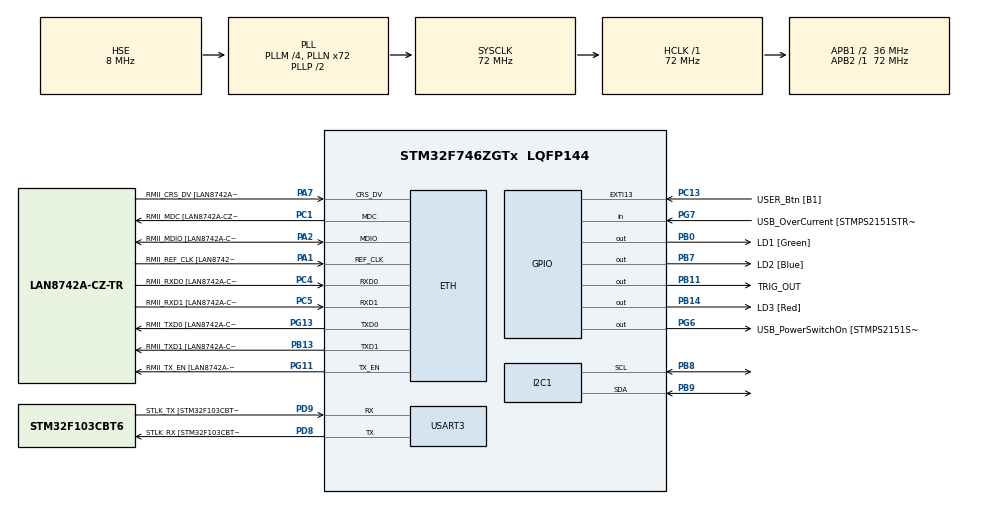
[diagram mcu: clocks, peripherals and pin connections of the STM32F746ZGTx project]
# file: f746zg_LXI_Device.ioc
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ETH.MediaInterface=ETH_MEDIA_INTERFACE_RMII
ETH.PHY_Name=LAN8742A_PHY_ADDRESS
ETH.PHY_Value=0
ETH.PhyAddress=0
FREERTOS.Tasks01=defaultTask,24,128,StartDefaultTask,Default,NULL,Dynamic,NULL,NULL
FREERTOS.configUSE_NEWLIB_REENTRANT=1
I2C1.Timing=0x00808CD2
LWIP.LWIP_AUTOIP=1
LWIP.LWIP_DHCP_AUTOIP_COOP=1
LWIP.LWIP_DNS=1
LWIP.LWIP_HTTPD=1
LWIP.LWIP_HTTPD_CGI=1
LWIP.LWIP_HTTPD_CGI_SSI=0
LWIP.LWIP_HTTPD_DYNAMIC_HEADERS=1
LWIP.LWIP_HTTPD_MAX_TAG_NAME_LEN=32
LWIP.LWIP_HTTPD_SSI=1
LWIP.LWIP_SNTP=1
LWIP.SNTP_MAX_SERVERS=3
LWIP.Version=v2.1.2_Cube
Mcu.Family=STM32F7
Mcu.Name=STM32F746ZGTx
Mcu.Package=LQFP144
NVIC.ETH_IRQn=true\:7\:0\:true\:false\:true\:true\:false\:true
NVIC.PriorityGroup=NVIC_PRIORITYGROUP_4
NVIC.TIM1_UP_TIM10_IRQn=true\:0\:0\:false\:false\:true\:false\:false\:true
NVIC.TimeBase=TIM1_UP_TIM10_IRQn
NVIC.TimeBaseIP=TIM1
NVIC.USART3_IRQn=true\:5\:0\:true\:false\:true\:true\:true\:true
PA1.GPIO_Label=RMII_REF_CLK [LAN8742A-CZ-TR_REFCLK0]
PA1.Mode=RMII
PA1.Signal=ETH_REF_CLK
PA10.GPIO_Label=USB_ID
PA10.Signal=USB_OTG_FS_ID
PA11.GPIO_Label=USB_DM
PA11.Signal=USB_OTG_FS_DM
PA12.GPIO_Label=USB_DP
PA12.Signal=USB_OTG_FS_DP
PA13.GPIO_Label=TMS
PA13.Mode=Serial_Wire
PA13.Signal=SYS_JTMS-SWDIO
PA14.GPIO_Label=TCK
PA14.Mode=Serial_Wire
PA14.Signal=SYS_JTCK-SWCLK
PA2.GPIO_Label=RMII_MDIO [LAN8742A-CZ-TR_MDIO]
PA2.Mode=RMII
PA2.Signal=ETH_MDIO
PA7.GPIO_Label=RMII_CRS_DV [LAN8742A-CZ-TR_CRS_DV]
PA7.Mode=RMII
PA7.Signal=ETH_CRS_DV
PA8.GPIO_Label=USB_SOF [TP1]
PA8.Signal=USB_OTG_FS_SOF
PA9.GPIO_Label=USB_VBUS
PA9.Signal=USB_OTG_FS_VBUS
PB0.GPIO_Label=LD1 [Green]
PB0.Signal=GPIO_Output
PB11.GPIO_Label=TRIG_OUT
PB11.GPIO_Speed=GPIO_SPEED_FREQ_VERY_HIGH
PB11.Signal=GPIO_Output
PB13.GPIO_Label=RMII_TXD1 [LAN8742A-CZ-TR_TXD1]
PB13.Mode=RMII
PB13.Signal=ETH_TXD1
PB14.GPIO_Label=LD3 [Red]
PB14.Signal=GPIO_Output
PB3.GPIO_Label=SW0
PB3.Signal=SYS_JTDO-SWO
PB7.GPIO_Label=LD2 [Blue]
PB7.Signal=GPIO_Output
PB8.GPIO_Pu=GPIO_PULLUP
PB8.Mode=I2C
PB8.Signal=I2C1_SCL
PB9.GPIO_Pu=GPIO_PULLUP
PB9.Mode=I2C
PB9.Signal=I2C1_SDA
PC1.GPIO_Label=RMII_MDC [LAN8742A-CZ-TR_MDC]
PC1.Mode=RMII
PC1.Signal=ETH_MDC
PC13.GPIO_Label=USER_Btn [B1]
PC13.Signal=GPXTI13
PC14/OSC32_IN.Mode=LSE-External-Oscillator
PC14/OSC32_IN.Signal=RCC_OSC32_IN
PC15/OSC32_OUT.Mode=LSE-External-Oscillator
PC15/OSC32_OUT.Signal=RCC_OSC32_OUT
PC4.GPIO_Label=RMII_RXD0 [LAN8742A-CZ-TR_RXD0]
PC4.Mode=RMII
PC4.Signal=ETH_RXD0
PC5.GPIO_Label=RMII_RXD1 [LAN8742A-CZ-TR_RXD1]
PC5.Mode=RMII
PC5.Signal=ETH_RXD1
PD8.GPIO_Label=STLK_RX [STM32F103CBT6_PA3]
PD8.Mode=Asynchronous
PD8.Signal=USART3_TX
PD9.GPIO_Label=STLK_TX [STM32F103CBT6_PA2]
PD9.Mode=Asynchronous
PD9.Signal=USART3_RX
PG11.GPIO_Label=RMII_TX_EN [LAN8742A-CZ-TR_TXEN]
PG11.Mode=RMII
PG11.Signal=ETH_TX_EN
PG13.GPIO_Label=RMII_TXD0 [LAN8742A-CZ-TR_TXD0]
PG13.Mode=RMII
PG13.Signal=ETH_TXD0
PG6.GPIO_Label=USB_PowerSwitchOn [STMPS2151STR_EN]
PG6.Signal=GPIO_Output
PG7.GPIO_Label=USB_OverCurrent [STMPS2151STR_FAULT]
PG7.Signal=GPIO_Input
PH0/OSC_IN.GPIO_Label=MCO [STM32F103CBT6_PA8]
PH0/OSC_IN.Mode=HSE-External-Clock-Source
PH0/OSC_IN.Signal=RCC_OSC_IN
PH1/OSC_OUT.Mode=HSE-External-Clock-Source
PH1/OSC_OUT.Signal=RCC_OSC_OUT
ProjectManager.HeapSize=0x200
ProjectManager.StackSize=0x400
ProjectManager.TargetToolchain=STM32CubeIDE
RCC.48MHZClocksFreq_Value=24000000
RCC.AHBFreq_Value=72000000
RCC.APB1CLKDivider=RCC_HCLK_DIV2
RCC.APB1Freq_Value=36000000
RCC.APB1TimFreq_Value=72000000
RCC.APB2Freq_Value=72000000
RCC.APB2TimFreq_Value=72000000
RCC.CortexFreq_Value=72000000
RCC.HCLKFreq_Value=72000000
RCC.HSE_VALUE=8000000
RCC.HSI_VALUE=16000000
RCC.PLLM=4
RCC.PLLMUL=RCC_PLL_MUL9
RCC.PLLN=72
RCC.PLLQ=3
RCC.PLLSourceVirtual=RCC_PLLSOURCE_HSE
RCC.PRESCALERUSB=RCC_USBCLKSOURCE_PLL_DIV1_5
RCC.SYSCLKFreq_VALUE=72000000
RCC.SYSCLKSource=RCC_SYSCLKSOURCE_PLLCLK
RCC.SYSCLKSourceVirtual=RCC_SYSCLKSOURCE_PLLCLK
RCC.USBFreq_Value=48000000
RCC.VCOOutputFreq_Value=144000000
USART3.VirtualMode-Asynchronous=VM_ASYNC
VP_FREERTOS_VS_CMSIS_V2.Mode=CMSIS_V2
VP_LWIP_VS_Enabled.Mode=Enabled
VP_SYS_VS_tim1.Mode=TIM1
board=NUCLEO-F746ZG

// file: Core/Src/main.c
/* USER CODE BEGIN Header */
/**
  ******************************************************************************
  * @file           : main.c
  * @brief          : Main program body
  ******************************************************************************
  * @attention
  *
  * <h2><center>&copy; Copyright (c) 2021 STMicroelectronics.
  * All rights reserved.</center></h2>
  *
  * This software component is licensed by ST under BSD 3-Clause license,
  * the "License"; You may not use this file except in compliance with the
  * License. You may obtain a copy of the License at:
  *                        opensource.org/licenses/BSD-3-Clause
  *
  ******************************************************************************
  *
  * @see https://lwip.fandom.com/wiki/IPv4
  *
  ******************************************************************************
  */
/* USER CODE END Header */
#include "main.h"
#include "cmsis_os.h"
#include "lwip.h"

/* USER CODE BEGIN Includes */
#include <stdio.h>
#include <stdbool.h>
#include "scpi/scpi.h"          // SCPI Library
#include "scpi-def.h"           // SCPI User Code
#include "eeprom_24aa.h"        // EEPROM macros
#include "lwrb/lwrb.h"          // light weight ring buffer for UART
#include "http_cgi_app.h"       // http User Code
#include "lwip/apps/httpd.h"    // http Library
#include "scpi_server.h"        // TCP/IP server for SCPI input
#include "rpc_server.h"         // LXI discovery service
#include "lwip/apps/sntp.h"     // SNTP API for time keeping
#include "ds3231.h"             // precision RTC on I2C
/* USER CODE END Includes */

/* USER CODE BEGIN PD */
#define ENABLE_DEBUG_PRINTF 0
/* USER CODE END PD */

I2C_HandleTypeDef hi2c1;

UART_HandleTypeDef huart3;

/* Definitions for defaultTask */
osThreadId_t defaultTaskHandle;
const osThreadAttr_t defaultTask_attributes = {
  .name = "defaultTask",
  .stack_size = 128 * 4,
  .priority = (osPriority_t) osPriorityNormal,
};
/* USER CODE BEGIN PV */
/** @note : Stack Size must be large enough to not cause a stack overflow --> HardFault_Handler() */
lwrb_t ringbuffer;
uint8_t uart_rx_buffer_data[128];
char temp[128];  // to pass UART Rx Ringbuffer to SCPI Input
bool flag_uart_cmd_available = false;

/* external API interfaces */
extern scpi_interface_t scpi_interface_vxi;
extern scpi_interface_t scpi_interface_serial;
extern struct netif gnetif;

/* global variables to save new device settings */
uint8_t MACAddrUser[6];
uint32_t newSettings_IPv4Addr = 0;
uint32_t newSettings_IPv4Gate = 0;
uint32_t newSettings_IPv4Mask = 0;
bool newSettings_DHCPenabled = false;

/* global flags */
bool applySettings_DHCP     = false;
bool applySettings_IPv4Addr = false;
bool applySettings_IPv4Mask = false;
bool applySettings_IPv4Gate = false;

/* global device status variables */
uint32_t deviceStatus_IPv4Addr = 0;
uint32_t deviceStatus_IPv4Mask = 0;
uint32_t deviceStatus_IPv4Gate = 0;
bool deviceStatus_DHCPenabled = false;
char _version_string[32];  // Firmware Version

ip4_addr_t ipv4_temp;

void printr(uint8_t reg) {
	printf("Reg 0x%02x = ", reg);
	uint8_t val;
	HAL_I2C_Master_Transmit(_ds3231_ui2c, DS3231_I2C_ADDR << 1, &reg, 1, DS3231_TIMEOUT);
	HAL_StatusTypeDef s = HAL_I2C_Master_Receive(_ds3231_ui2c,
			DS3231_I2C_ADDR << 1, &val, 1, DS3231_TIMEOUT);
	for (uint8_t i = 0; i < 8; i++) {
		printf("%d", (val >> (7 - i)) & 1);
	}
	printf(" With status %d", s);
	printf("\n");
}
/* USER CODE END PV */

void SystemClock_Config(void);
static void MX_GPIO_Init(void);
static void MX_USART3_UART_Init(void);
static void MX_I2C1_Init(void);
void StartDefaultTask(void *argument);

/* USER CODE BEGIN PFP */
void I2C_ScanAddresses(I2C_HandleTypeDef *hi2c);
void LXI_LCI_Mechanism(void);
/* USER CODE END PFP */

int main(void)
{

  /* MCU Configuration--------------------------------------------------------*/

  /* Reset of all peripherals, Initializes the Flash interface and the Systick. */
  HAL_Init();

  /* Configure the system clock */
  SystemClock_Config();

  /* Initialize all configured peripherals */
  MX_GPIO_Init();
  MX_USART3_UART_Init();
  MX_I2C1_Init();
  /* USER CODE BEGIN 2 */

  MACAddrUser[0] = 0x00;
  MACAddrUser[1] = 0x80;
  MACAddrUser[2] = 0xE1;
  MACAddrUser[3] = 0xc0;
  MACAddrUser[4] = 0xff;
  MACAddrUser[5] = 0xee;

  // read EUI48 compatible MAC address from EEPROM before initializing the LwIP stack
  _EEPROM_GetEUI48(EEPROM24AA_ADDRESS, MACAddrUser);

  // I2C_ScanAddresses(&hi2c1);

  /** @todo - test with working module
  DS3231_Init(&hi2c1);
  DS3231_SetFullTime(11, 15, 50);
  DS3231_SetFullDate(19, 11, 5, 2021);
  */

  lwrb_init(&ringbuffer, uart_rx_buffer_data, sizeof(uart_rx_buffer_data));

  // initialize SCPI Interface for UART Connection
  SCPI_Init(&scpi_context_serial,
	     	scpi_commands,
	     	&scpi_interface_serial,
	     	scpi_units_def,
	     	SCPI_IDN1, SCPI_IDN2, SCPI_IDN3, SCPI_IDN4,
	     	(char*)&scpi_input_buffer_serial, SCPI_INPUT_BUFFER_LENGTH,
	     	scpi_error_queue_data_serial, SCPI_ERROR_QUEUE_SIZE);
  __HAL_UART_ENABLE_IT(&huart3, UART_IT_RXNE);  // must be enabled again
  // __HAL_UART_ENABLE_IT(&huart3, UART_IT_IDLE);  // @Bug : gets stuck in TIM1 interrupt. Priority issue because of systick?

  SCPI_Input(&scpi_context_serial, "*IDN?\n", 6);

  /* USER CODE END 2 */

  /* Init scheduler */
  osKernelInitialize();

  /* USER CODE BEGIN RTOS_QUEUES */
  /* add queues, ... */
  scpi_server_init();
  rpc_server_init();
  /* USER CODE END RTOS_QUEUES */

  /* Create the thread(s) */
  /* creation of defaultTask */
  defaultTaskHandle = osThreadNew(StartDefaultTask, NULL, &defaultTask_attributes);

  /* Start scheduler */
  osKernelStart();

  /* We should never get here as control is now taken by the scheduler */
  /* Infinite loop */
  while (1)
  {

  }
}

void SystemClock_Config(void)
{
  RCC_OscInitTypeDef RCC_OscInitStruct = {0};
  RCC_ClkInitTypeDef RCC_ClkInitStruct = {0};
  RCC_PeriphCLKInitTypeDef PeriphClkInitStruct = {0};

  /** Configure LSE Drive Capability
  */
  HAL_PWR_EnableBkUpAccess();
  /** Configure the main internal regulator output voltage
  */
  __HAL_RCC_PWR_CLK_ENABLE();
  __HAL_PWR_VOLTAGESCALING_CONFIG(PWR_REGULATOR_VOLTAGE_SCALE3);
  /** Initializes the RCC Oscillators according to the specified parameters
  * in the RCC_OscInitTypeDef structure.
  */
  RCC_OscInitStruct.OscillatorType = RCC_OSCILLATORTYPE_HSE;
  RCC_OscInitStruct.HSEState = RCC_HSE_BYPASS;
  RCC_OscInitStruct.PLL.PLLState = RCC_PLL_ON;
  RCC_OscInitStruct.PLL.PLLSource = RCC_PLLSOURCE_HSE;
  RCC_OscInitStruct.PLL.PLLM = 4;
  RCC_OscInitStruct.PLL.PLLN = 72;
  RCC_OscInitStruct.PLL.PLLP = RCC_PLLP_DIV2;
  RCC_OscInitStruct.PLL.PLLQ = 3;
  if (HAL_RCC_OscConfig(&RCC_OscInitStruct) != HAL_OK)
  {
    Error_Handler();
  }
  /** Initializes the CPU, AHB and APB buses clocks
  */
  RCC_ClkInitStruct.ClockType = RCC_CLOCKTYPE_HCLK|RCC_CLOCKTYPE_SYSCLK
                              |RCC_CLOCKTYPE_PCLK1|RCC_CLOCKTYPE_PCLK2;
  RCC_ClkInitStruct.SYSCLKSource = RCC_SYSCLKSOURCE_PLLCLK;
  RCC_ClkInitStruct.AHBCLKDivider = RCC_SYSCLK_DIV1;
  RCC_ClkInitStruct.APB1CLKDivider = RCC_HCLK_DIV2;
  RCC_ClkInitStruct.APB2CLKDivider = RCC_HCLK_DIV1;

  if (HAL_RCC_ClockConfig(&RCC_ClkInitStruct, FLASH_LATENCY_2) != HAL_OK)
  {
    Error_Handler();
  }
  PeriphClkInitStruct.PeriphClockSelection = RCC_PERIPHCLK_USART3|RCC_PERIPHCLK_I2C1;
  PeriphClkInitStruct.Usart3ClockSelection = RCC_USART3CLKSOURCE_PCLK1;
  PeriphClkInitStruct.I2c1ClockSelection = RCC_I2C1CLKSOURCE_PCLK1;
  if (HAL_RCCEx_PeriphCLKConfig(&PeriphClkInitStruct) != HAL_OK)
  {
    Error_Handler();
  }
}

static void MX_I2C1_Init(void)
{

  hi2c1.Instance = I2C1;
  hi2c1.Init.Timing = 0x00808CD2;
  hi2c1.Init.OwnAddress1 = 0;
  hi2c1.Init.AddressingMode = I2C_ADDRESSINGMODE_7BIT;
  hi2c1.Init.DualAddressMode = I2C_DUALADDRESS_DISABLE;
  hi2c1.Init.OwnAddress2 = 0;
  hi2c1.Init.OwnAddress2Masks = I2C_OA2_NOMASK;
  hi2c1.Init.GeneralCallMode = I2C_GENERALCALL_DISABLE;
  hi2c1.Init.NoStretchMode = I2C_NOSTRETCH_DISABLE;
  if (HAL_I2C_Init(&hi2c1) != HAL_OK)
  {
    Error_Handler();
  }
  /** Configure Analogue filter
  */
  if (HAL_I2CEx_ConfigAnalogFilter(&hi2c1, I2C_ANALOGFILTER_ENABLE) != HAL_OK)
  {
    Error_Handler();
  }
  /** Configure Digital filter
  */
  if (HAL_I2CEx_ConfigDigitalFilter(&hi2c1, 0) != HAL_OK)
  {
    Error_Handler();
  }

}

static void MX_USART3_UART_Init(void)
{

  huart3.Instance = USART3;
  huart3.Init.BaudRate = 115200;
  huart3.Init.WordLength = UART_WORDLENGTH_8B;
  huart3.Init.StopBits = UART_STOPBITS_1;
  huart3.Init.Parity = UART_PARITY_NONE;
  huart3.Init.Mode = UART_MODE_TX_RX;
  huart3.Init.HwFlowCtl = UART_HWCONTROL_NONE;
  huart3.Init.OverSampling = UART_OVERSAMPLING_16;
  huart3.Init.OneBitSampling = UART_ONE_BIT_SAMPLE_DISABLE;
  huart3.AdvancedInit.AdvFeatureInit = UART_ADVFEATURE_NO_INIT;
  if (HAL_UART_Init(&huart3) != HAL_OK)
  {
    Error_Handler();
  }

}

static void MX_GPIO_Init(void)
{
  GPIO_InitTypeDef GPIO_InitStruct = {0};

  /* GPIO Ports Clock Enable */
  __HAL_RCC_GPIOC_CLK_ENABLE();
  __HAL_RCC_GPIOH_CLK_ENABLE();
  __HAL_RCC_GPIOA_CLK_ENABLE();
  __HAL_RCC_GPIOB_CLK_ENABLE();
  __HAL_RCC_GPIOD_CLK_ENABLE();
  __HAL_RCC_GPIOG_CLK_ENABLE();

  /*Configure GPIO pin Output Level */
  HAL_GPIO_WritePin(GPIOB, LD1_Pin|TRIG_OUT_Pin|LD3_Pin|LD2_Pin, GPIO_PIN_RESET);

  /*Configure GPIO pin Output Level */
  HAL_GPIO_WritePin(USB_PowerSwitchOn_GPIO_Port, USB_PowerSwitchOn_Pin, GPIO_PIN_RESET);

  /*Configure GPIO pin : USER_Btn_Pin */
  GPIO_InitStruct.Pin = USER_Btn_Pin;
  GPIO_InitStruct.Mode = GPIO_MODE_IT_RISING;
  GPIO_InitStruct.Pull = GPIO_NOPULL;
  HAL_GPIO_Init(USER_Btn_GPIO_Port, &GPIO_InitStruct);

  /*Configure GPIO pins : LD1_Pin LD3_Pin LD2_Pin */
  GPIO_InitStruct.Pin = LD1_Pin|LD3_Pin|LD2_Pin;
  GPIO_InitStruct.Mode = GPIO_MODE_OUTPUT_PP;
  GPIO_InitStruct.Pull = GPIO_NOPULL;
  GPIO_InitStruct.Speed = GPIO_SPEED_FREQ_LOW;
  HAL_GPIO_Init(GPIOB, &GPIO_InitStruct);

  /*Configure GPIO pin : TRIG_OUT_Pin */
  GPIO_InitStruct.Pin = TRIG_OUT_Pin;
  GPIO_InitStruct.Mode = GPIO_MODE_OUTPUT_PP;
  GPIO_InitStruct.Pull = GPIO_NOPULL;
  GPIO_InitStruct.Speed = GPIO_SPEED_FREQ_VERY_HIGH;
  HAL_GPIO_Init(TRIG_OUT_GPIO_Port, &GPIO_InitStruct);

  /*Configure GPIO pin : USB_PowerSwitchOn_Pin */
  GPIO_InitStruct.Pin = USB_PowerSwitchOn_Pin;
  GPIO_InitStruct.Mode = GPIO_MODE_OUTPUT_PP;
  GPIO_InitStruct.Pull = GPIO_NOPULL;
  GPIO_InitStruct.Speed = GPIO_SPEED_FREQ_LOW;
  HAL_GPIO_Init(USB_PowerSwitchOn_GPIO_Port, &GPIO_InitStruct);

  /*Configure GPIO pin : USB_OverCurrent_Pin */
  GPIO_InitStruct.Pin = USB_OverCurrent_Pin;
  GPIO_InitStruct.Mode = GPIO_MODE_INPUT;
  GPIO_InitStruct.Pull = GPIO_NOPULL;
  HAL_GPIO_Init(USB_OverCurrent_GPIO_Port, &GPIO_InitStruct);

  /*Configure GPIO pins : USB_SOF_Pin USB_ID_Pin USB_DM_Pin USB_DP_Pin */
  GPIO_InitStruct.Pin = USB_SOF_Pin|USB_ID_Pin|USB_DM_Pin|USB_DP_Pin;
  GPIO_InitStruct.Mode = GPIO_MODE_AF_PP;
  GPIO_InitStruct.Pull = GPIO_NOPULL;
  GPIO_InitStruct.Speed = GPIO_SPEED_FREQ_VERY_HIGH;
  GPIO_InitStruct.Alternate = GPIO_AF10_OTG_FS;
  HAL_GPIO_Init(GPIOA, &GPIO_InitStruct);

  /*Configure GPIO pin : USB_VBUS_Pin */
  GPIO_InitStruct.Pin = USB_VBUS_Pin;
  GPIO_InitStruct.Mode = GPIO_MODE_INPUT;
  GPIO_InitStruct.Pull = GPIO_NOPULL;
  HAL_GPIO_Init(USB_VBUS_GPIO_Port, &GPIO_InitStruct);

}

/* USER CODE BEGIN 4 */
/**
 * @brief  Retargets the C library printf function to the USART.
 * @param  None
 * @retval None
 * @see    https://github.com/STMicroelectronics/STM32CubeF4/blob/master/Projects/STM32F401RE-Nucleo/Examples/UART/UART_Printf/Src/main.c
 */
PUTCHAR_PROTOTYPE {
	/* Place your implementation of fputc here */
	/* e.g. write a character to the EVAL_COM1 and Loop until the end of transmission */
#ifdef ENABLE_DEBUG_PRINTF
	HAL_UART_Transmit(&huart3, (uint8_t*) &ch, 1, 1);
#endif
	// while(!(CDC_Transmit_FS((uint8_t*)&ch, 1) == USBD_BUSY));
	return ch;
}

/**
 * @brief callback funtion to set system time from NTP server
 * @param sec timestamp in seconds
 * @param us  additional microseconds
 * @see   sntp.c:139
 * @see   sntp_opts.h:56
 * @todo  implement RTC callback
 */
void SNTP_RTC_callback(uint32_t sec, uint32_t us){
	printf("NTP: %d\n", (int)sec);
}

/**
 * @note LXI Standard v1.5 - 2.4.5 LAN Configuration Initialize (LCI)
 * @note LXI Standard v1.5 - 2.4.5.1 LCI Mechanism ("LAN RESET" menu entry that, when activated, places its network settings in a default state)
 * @todo implement network default settings
 */
void LXI_LCI_Mechanism(void)
{
  deviceStatus_DHCPenabled = true;
  //MX_LWIP_Deinit();
  //MX_LWIP_Reinit_DHCP();
  printf("LCI: Init DHCP On\n");
}

void I2C_ScanAddresses(I2C_HandleTypeDef *hi2c){
    uint8_t error, address;
    uint16_t nDevices;
    nDevices = 0;
    printf("Scanning for available I2C devices...");
    for(address = 0; address < 255; address++ )
    {
        HAL_Delay(10);
        error = HAL_I2C_Master_Transmit(hi2c, address, 0x00, 1, 1);
        //error = HAL_I2C_Master_Receive(hi2c, address, 0x00, 1, 1);
        if (error == HAL_OK)
        {
            printf("I2C device found at address 0x%02X!\n", address);
            nDevices++;
        }
    }
    if (nDevices == 0)
        printf("No I2C devices found\n");
    else
        printf("done\n");
}

void IP_Settings_Apply(bool* flag, uint32_t* ip, uint8_t reg)
{
	if(*flag){
		*flag = false;
		ipv4_temp.addr = *ip;  // store new ip to temp struct
		if(reg == EEPROM24AA_REG_IP){
			EEPROM_SaveIP(EEPROM24AA_REG_IP, *ip);
			netif_set_ipaddr(&gnetif, &ipv4_temp);
			//ipAddressPrinted = false;
		}
		if(reg == EEPROM24AA_REG_GATEWAY){
			EEPROM_SaveIP(EEPROM24AA_REG_GATEWAY, *ip);
			netif_set_gw(&gnetif, &ipv4_temp);
			//ipAddressPrinted = false;
		}
		if(reg == EEPROM24AA_REG_SUBNET){
			EEPROM_SaveIP(EEPROM24AA_REG_SUBNET, *ip);
			netif_set_netmask(&gnetif, &ipv4_temp);
			//ipAddressPrinted = false;
		}
		printf("[set] %d.%d.%d.%d\n", (int)(*ip&0xff),(int)((*ip>>8)&0xff),(int)((*ip>>16)&0xff),(int)(*ip>>24));
	}
}

void DHCP_Settings_Apply(bool* flag, bool* en, uint8_t reg)
{
	if(*flag){
		*flag = false;
		//ipAddressPrinted = false;
		EEPROM_SaveByte(reg, *en);
		if (*en) {
			deviceStatus_DHCPenabled = true;
			dhcp_start(&gnetif);
		} else {
			deviceStatus_DHCPenabled = false;
			dhcp_stop(&gnetif);  // will reset IP + mask + GW

			osDelay(5);
			newSettings_IPv4Addr = EEPROM_ReadIP(EEPROM24AA_REG_IP);
			osDelay(5);
			newSettings_IPv4Mask = EEPROM_ReadIP(EEPROM24AA_REG_SUBNET);
			osDelay(5);
			newSettings_IPv4Gate = EEPROM_ReadIP(EEPROM24AA_REG_GATEWAY);

			applySettings_IPv4Addr = true;
			applySettings_IPv4Gate = true;
			applySettings_IPv4Mask = true;
		}
	}
}
/* USER CODE END 4 */

void StartDefaultTask(void *argument)
{
  /* init code for LWIP */
  MX_LWIP_Init();
  /* USER CODE BEGIN 5 */
	deviceStatus_DHCPenabled = true;
	// if DHCP was previously disabled, use the settings from the EEPROM
	osDelay(5);
	deviceStatus_DHCPenabled = EEPROM_ReadByte(EEPROM24AA_REG_DHCP_EN);
	if(!deviceStatus_DHCPenabled){
		dhcp_stop(&gnetif);
		osDelay(5);
		newSettings_IPv4Addr = EEPROM_ReadIP(EEPROM24AA_REG_IP);
		osDelay(5);
		newSettings_IPv4Gate = EEPROM_ReadIP(EEPROM24AA_REG_GATEWAY);
		osDelay(5);
		newSettings_IPv4Mask = EEPROM_ReadIP(EEPROM24AA_REG_SUBNET);
		// @todo add further validation for IP / gateway addresses
		if(ip4_addr_netmask_valid(newSettings_IPv4Mask)){
			applySettings_IPv4Mask = true;
			applySettings_IPv4Addr = true;
			applySettings_IPv4Gate = true;
		} else {
			// deviceStatus_DHCPenabled = true;  // revert back to DHCP
		}
	}

	bool ipAddressPrinted = false;
	httpd_init();
	webCGIinit();
	webSSIinit();

	/* Configure and start the SNTP client */
	/* @see https://www.pool.ntp.org/zone/ch */
	sntp_setoperatingmode(SNTP_OPMODE_POLL);
	sntp_setservername(0, "pool.ntp.org");
	sntp_setservername(1, "2.ch.pool.ntp.org");
	sntp_init();

	// build firmware version string
#ifdef INCLUDE_DATE_IN_VERSION_STRING
	snprintf(_version_string, _LEN_VERSION_STR, "v%d.%d.%d (%s %s)",
			_VERSION_MAJOR, _VERSION_MINOR, _VERSION_PATCH, __DATE__, __TIME__);
#else
	snprintf(_version_string, _LEN_VERSION_STR, "v%d.%d.%d",
			_VERSION_MAJOR, _VERSION_MINOR, _VERSION_PATCH);
#endif

#ifdef PRINT_ETA_SERIAL_STRING
	printf("PCB rev. %s\n", _PCB_REVISION);
#endif

#ifdef PRINT_ETA_VERSION_STRING
	printf("Firmware %s\n", _version_string);
#endif

	/* Infinite loop */
	for (;;) {
		// osDelay(1);

		// Handle any changes in the Network settings
		// save to EEPROM to recover settings after reboot
		IP_Settings_Apply(&applySettings_IPv4Addr, &newSettings_IPv4Addr, EEPROM24AA_REG_IP     );
		IP_Settings_Apply(&applySettings_IPv4Mask, &newSettings_IPv4Mask, EEPROM24AA_REG_SUBNET );
		IP_Settings_Apply(&applySettings_IPv4Gate, &newSettings_IPv4Gate, EEPROM24AA_REG_GATEWAY);
		DHCP_Settings_Apply(&applySettings_DHCP  , &newSettings_DHCPenabled, EEPROM24AA_REG_DHCP_EN);

		if (!ipAddressPrinted) {
			if (!ip4_addr_isany(netif_ip4_addr(&gnetif))) {
				deviceStatus_IPv4Addr = ip4_addr_get_u32(netif_ip4_addr(&gnetif));
				deviceStatus_IPv4Gate = ip4_addr_get_u32(netif_ip4_gw(&gnetif));
				deviceStatus_IPv4Mask = ip4_addr_get_u32(netif_ip4_netmask(&gnetif));
				// print IP address
				printf("IP %d.%d.%d.%d\n", (int) (deviceStatus_IPv4Addr & 0xff),
						(int) ((deviceStatus_IPv4Addr >> 8) & 0xff),
						(int) ((deviceStatus_IPv4Addr >> 16) & 0xff),
						(int) (deviceStatus_IPv4Addr >> 24));
				ipAddressPrinted = true;

				// print PHY/MAC address
				printf("MAC %02x:%02x:%02x:%02x:%02x:%02x\n", MACAddrUser[0],
						MACAddrUser[1], MACAddrUser[2], MACAddrUser[3],
						MACAddrUser[4], MACAddrUser[5]);
			}
		}

		// Feed UART Rx data to SCPI_Input when a line end is detected in UART IRQ
		if (flag_uart_cmd_available) {
			flag_uart_cmd_available = false;
			/** @todo MUTEX for ringbuffer? */

			uint8_t len = lwrb_get_full(&ringbuffer);
			lwrb_read(&ringbuffer, temp, len);
			SCPI_Input(&scpi_context_serial, temp, len);

			/** @todo : does this work without the temp buffer ? */
			// first character appears to be a '\n'  --> start at buff[1] does not work either
			// lwrb_get_linear_block_read_address()
			//SCPI_Input(&scpi_context_serial, (uint8_t*)&ringbuffer.buff[0], lwrb_get_full(&ringbuffer));
			//lwrb_reset(&ringbuffer);
		} else {
			__HAL_UART_ENABLE_IT(&huart3, UART_IT_RXNE); // make absolutely sure, this is enabled
		}
	}
  /* USER CODE END 5 */
}

void HAL_TIM_PeriodElapsedCallback(TIM_HandleTypeDef *htim)
{
  if (htim->Instance == TIM1) {
    HAL_IncTick();
  }
}

void Error_Handler(void)
{
  __disable_irq();
  while (1)
  {
  }
}

/************************ (C) COPYRIGHT STMicroelectronics *****END OF FILE****/
